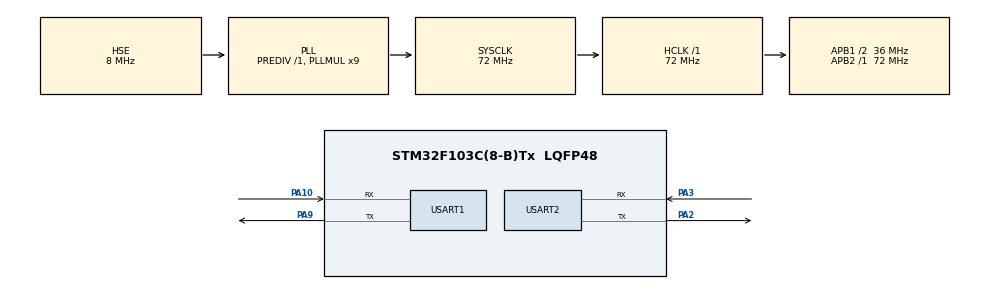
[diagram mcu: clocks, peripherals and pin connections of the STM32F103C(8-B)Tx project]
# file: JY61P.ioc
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Mcu.Family=STM32F1
Mcu.Name=STM32F103C(8-B)Tx
Mcu.Package=LQFP48
NVIC.PriorityGroup=NVIC_PRIORITYGROUP_2
NVIC.USART1_IRQn=true\:0\:0\:false\:false\:true\:true\:true\:true
PA10.Mode=Asynchronous
PA10.Signal=USART1_RX
PA13.Mode=Serial_Wire
PA13.Signal=SYS_JTMS-SWDIO
PA14.Mode=Serial_Wire
PA14.Signal=SYS_JTCK-SWCLK
PA2.Mode=Asynchronous
PA2.Signal=USART2_TX
PA3.Mode=Asynchronous
PA3.Signal=USART2_RX
PA9.Mode=Asynchronous
PA9.Signal=USART1_TX
PC14-OSC32_IN.Mode=LSE-External-Oscillator
PC14-OSC32_IN.Signal=RCC_OSC32_IN
PC15-OSC32_OUT.Mode=LSE-External-Oscillator
PC15-OSC32_OUT.Signal=RCC_OSC32_OUT
PD0-OSC_IN.Mode=HSE-External-Oscillator
PD0-OSC_IN.Signal=RCC_OSC_IN
PD1-OSC_OUT.Mode=HSE-External-Oscillator
PD1-OSC_OUT.Signal=RCC_OSC_OUT
ProjectManager.HeapSize=0x200
ProjectManager.StackSize=0x400
ProjectManager.TargetToolchain=MDK-ARM V5.32
RCC.AHBFreq_Value=72000000
RCC.APB1CLKDivider=RCC_HCLK_DIV2
RCC.APB1Freq_Value=36000000
RCC.APB1TimFreq_Value=72000000
RCC.APB2Freq_Value=72000000
RCC.APB2TimFreq_Value=72000000
RCC.HCLKFreq_Value=72000000
RCC.PLLMUL=RCC_PLL_MUL9
RCC.PLLSourceVirtual=RCC_PLLSOURCE_HSE
RCC.SYSCLKFreq_VALUE=72000000
RCC.SYSCLKSource=RCC_SYSCLKSOURCE_PLLCLK
RCC.USBFreq_Value=72000000
USART1.VirtualMode=VM_ASYNC
USART2.VirtualMode=VM_ASYNC
board=custom

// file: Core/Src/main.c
/* USER CODE BEGIN Header */
/**
  ******************************************************************************
  * @file           : main.c
  * @brief          : Main program body
  ******************************************************************************
  * @attention
  *
  * Copyright (c) 2026 STMicroelectronics.
  * All rights reserved.
  *
  * This software is licensed under terms that can be found in the LICENSE file
  * in the root directory of this software component.
  * If no LICENSE file comes with this software, it is provided AS-IS.
  *
  ******************************************************************************
  */
/* USER CODE END Header */
#include "main.h"

/* USER CODE BEGIN Includes */
#include "jy61p.h"
#include <stdio.h>
/* USER CODE END Includes */

UART_HandleTypeDef huart1;
UART_HandleTypeDef huart2;

void SystemClock_Config(void);
static void MX_GPIO_Init(void);
static void MX_USART1_UART_Init(void);
static void MX_USART2_UART_Init(void);

int main(void)
{

  /* MCU Configuration--------------------------------------------------------*/

  /* Reset of all peripherals, Initializes the Flash interface and the Systick. */
  HAL_Init();

  /* Configure the system clock */
  SystemClock_Config();

  /* Initialize all configured peripherals */
  MX_GPIO_Init();
  MX_USART1_UART_Init();
  MX_USART2_UART_Init();
  /* USER CODE BEGIN 2 */

  printf("系统启动 JY61P (USART1)...\r\n");
  printf("正在校准 Z 轴，请保持传感器绝对静止 3 秒钟...\r\n");
  JY61P_ZeroYaw(); // 调用清零函数
  printf("Z 轴校准完成！\r\n");
  //全部弄完了开启接收中断
  HAL_UART_Receive_IT(&huart1, &g_uart_rx_byte, 1);
  /* USER CODE END 2 */

  /* Infinite loop */
  while (1)
  {

    /* USER CODE BEGIN 3 */
    if (g_angle_data.update_flag == 1) {
            g_angle_data.update_flag = 0;

            printf("Roll: %.2f | Pitch: %.2f | Yaw: %.2f\r\n",
                   g_angle_data.roll,
                   g_angle_data.pitch,
                   g_angle_data.yaw);
        }
  }
  /* USER CODE END 3 */
}

void SystemClock_Config(void)
{
  RCC_OscInitTypeDef RCC_OscInitStruct = {0};
  RCC_ClkInitTypeDef RCC_ClkInitStruct = {0};

  /** Initializes the RCC Oscillators according to the specified parameters
  * in the RCC_OscInitTypeDef structure.
  */
  RCC_OscInitStruct.OscillatorType = RCC_OSCILLATORTYPE_HSE;
  RCC_OscInitStruct.HSEState = RCC_HSE_ON;
  RCC_OscInitStruct.HSEPredivValue = RCC_HSE_PREDIV_DIV1;
  RCC_OscInitStruct.HSIState = RCC_HSI_ON;
  RCC_OscInitStruct.PLL.PLLState = RCC_PLL_ON;
  RCC_OscInitStruct.PLL.PLLSource = RCC_PLLSOURCE_HSE;
  RCC_OscInitStruct.PLL.PLLMUL = RCC_PLL_MUL9;
  if (HAL_RCC_OscConfig(&RCC_OscInitStruct) != HAL_OK)
  {
    Error_Handler();
  }

  /** Initializes the CPU, AHB and APB buses clocks
  */
  RCC_ClkInitStruct.ClockType = RCC_CLOCKTYPE_HCLK|RCC_CLOCKTYPE_SYSCLK
                              |RCC_CLOCKTYPE_PCLK1|RCC_CLOCKTYPE_PCLK2;
  RCC_ClkInitStruct.SYSCLKSource = RCC_SYSCLKSOURCE_PLLCLK;
  RCC_ClkInitStruct.AHBCLKDivider = RCC_SYSCLK_DIV1;
  RCC_ClkInitStruct.APB1CLKDivider = RCC_HCLK_DIV2;
  RCC_ClkInitStruct.APB2CLKDivider = RCC_HCLK_DIV1;

  if (HAL_RCC_ClockConfig(&RCC_ClkInitStruct, FLASH_LATENCY_2) != HAL_OK)
  {
    Error_Handler();
  }
}

static void MX_USART1_UART_Init(void)
{

  huart1.Instance = USART1;
  huart1.Init.BaudRate = 9600;
  huart1.Init.WordLength = UART_WORDLENGTH_8B;
  huart1.Init.StopBits = UART_STOPBITS_1;
  huart1.Init.Parity = UART_PARITY_NONE;
  huart1.Init.Mode = UART_MODE_TX_RX;
  huart1.Init.HwFlowCtl = UART_HWCONTROL_NONE;
  huart1.Init.OverSampling = UART_OVERSAMPLING_16;
  if (HAL_UART_Init(&huart1) != HAL_OK)
  {
    Error_Handler();
  }

}

static void MX_USART2_UART_Init(void)
{

  huart2.Instance = USART2;
  huart2.Init.BaudRate = 115200;
  huart2.Init.WordLength = UART_WORDLENGTH_8B;
  huart2.Init.StopBits = UART_STOPBITS_1;
  huart2.Init.Parity = UART_PARITY_NONE;
  huart2.Init.Mode = UART_MODE_TX_RX;
  huart2.Init.HwFlowCtl = UART_HWCONTROL_NONE;
  huart2.Init.OverSampling = UART_OVERSAMPLING_16;
  if (HAL_UART_Init(&huart2) != HAL_OK)
  {
    Error_Handler();
  }

}

static void MX_GPIO_Init(void)
{

  /* GPIO Ports Clock Enable */
  __HAL_RCC_GPIOC_CLK_ENABLE();
  __HAL_RCC_GPIOD_CLK_ENABLE();
  __HAL_RCC_GPIOA_CLK_ENABLE();

}

/* USER CODE BEGIN 4 */
void HAL_UART_RxCpltCallback(UART_HandleTypeDef *huart) {
    // ����ǲ������������ǵ��Ǹ�����
    if (huart->Instance == USART1) {

        JY61P_ParseAngle(g_uart_rx_byte); // ����

        // �ٴο������գ���ֹ�ж�ͣ��
        HAL_UART_Receive_IT(&huart1, &g_uart_rx_byte, 1);
    }
}

int fputc(int ch, FILE *f) {
    HAL_UART_Transmit(&huart2, (uint8_t *)&ch, 1, HAL_MAX_DELAY);
    return ch;
}

/* USER CODE END 4 */

void Error_Handler(void)
{
  __disable_irq();
  while (1)
  {
  }
}
